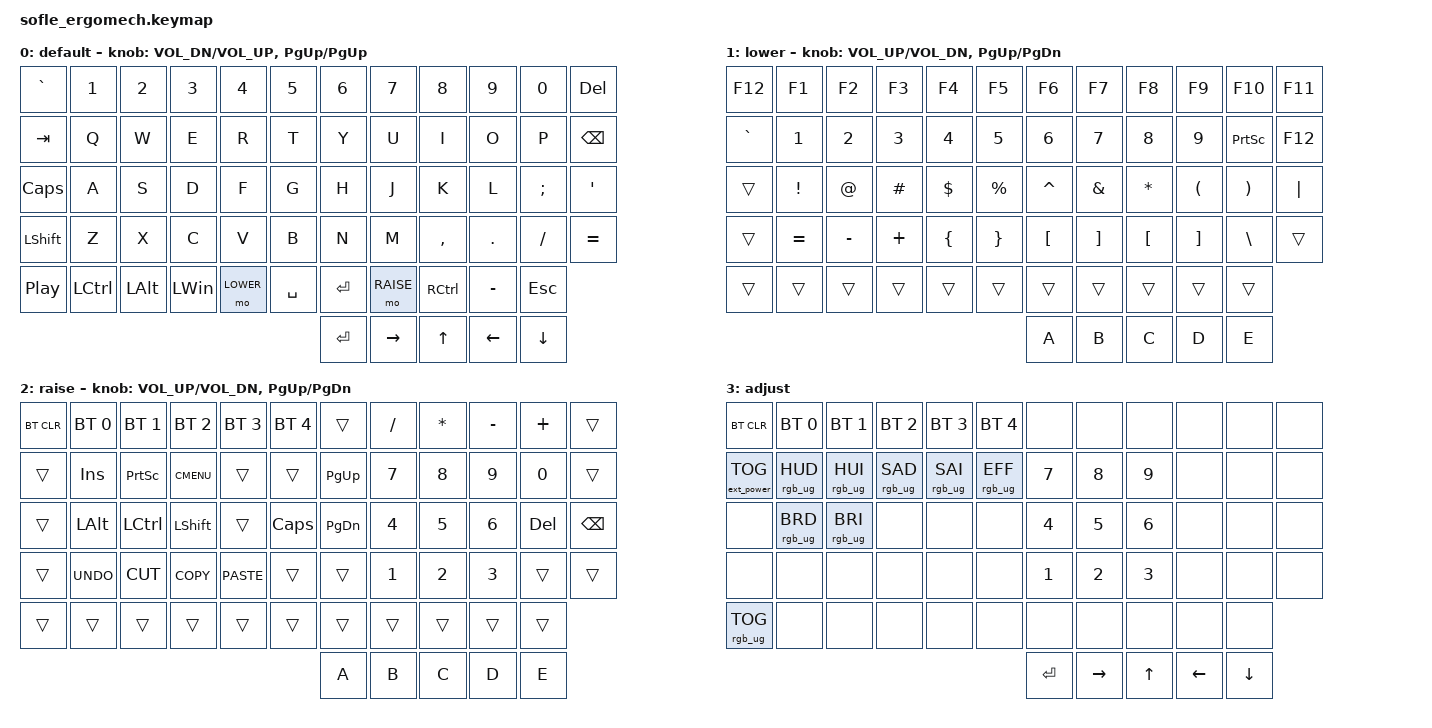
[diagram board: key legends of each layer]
/*
 * Copyright (c) 2020 The ZMK Contributors
 *
 * SPDX-License-Identifier: MIT
 */

#include <behaviors.dtsi>
#include <dt-bindings/zmk/bt.h>
#include <dt-bindings/zmk/ext_power.h>
#include <dt-bindings/zmk/keys.h>
#include <dt-bindings/zmk/rgb.h>

#define BASE 0
#define LOWER 1
#define RAISE 2
#define ADJUST 3

/ {
    // Activate ADJUST layer by pressing raise and lower

    conditional_layers {
        compatible = "zmk,conditional-layers";

        adjust_layer {
            if-layers = <LOWER RAISE>;
            then-layer = <ADJUST>;
        };
    };

    keymap {
        compatible = "zmk,keymap";

        default_layer {
            label = "default";

            // ------------------------------------------------------------------------------------------------------------
            // |   `   |  1  |  2  |  3   |  4   |  5   |                   |  6   |  7    |  8    |  9   |   0   |       |
            // |  ESC  |  Q  |  W  |  E   |  R   |  T   |                   |  Y   |  U    |  I    |  O   |   P   | BKSPC |
            // |  TAB  |  A  |  S  |  D   |  F   |  G   |                   |  H   |  J    |  K    |  L   |   ;   |   '   |
            // | SHIFT |  Z  |  X  |  C   |  V   |  B   |  MUTE  |  |       |  N   |  M    |  ,    |  .   |   /   | SHIFT |
            //               | GUI | ALT  | CTRL | LOWER|  ENTER |  | SPACE | RAISE| CTRL  | ALT   | GUI  |

            bindings = <
&kp GRAVE         &kp N1     &kp N2    &kp N3        &kp N4     &kp N5     &kp N6     &kp N7     &kp N8        &kp N9     &kp N0         &kp DELETE
&kp TAB           &kp Q      &kp W     &kp E         &kp R      &kp T      &kp Y      &kp U      &kp I         &kp O      &kp P          &kp BSPC
&kp CAPSLOCK      &kp A      &kp S     &kp D         &kp F      &kp G      &kp H      &kp J      &kp K         &kp L      &kp SEMICOLON  &kp SQT
&kp LSHFT         &kp Z      &kp X     &kp C         &kp V      &kp B      &kp N      &kp M      &kp COMMA     &kp DOT    &kp FSLH       &kp EQUAL
&kp C_PLAY_PAUSE  &kp LCTRL  &kp LALT  &kp LEFT_WIN  &mo LOWER  &kp SPACE  &kp ENTER  &mo RAISE  &kp RCTRL     &kp MINUS  &kp ESC
                                                                           &kp ENTER  &kp RIGHT  &kp UP_ARROW  &kp LEFT   &kp DOWN
            >;

            sensor-bindings =
                <&inc_dec_kp C_VOL_DN C_VOL_UP>,
                <&inc_dec_kp PG_UP PG_UP>;
        };

        lower_layer {
            label = "lower";

            // TODO: Some binds are waiting for shifted keycode support.
            // ------------------------------------------------------------------------------------------------------------
            // |       |  F1 |  F2 |  F3  |  F4  |  F5  |                   |  F6  |  F7   |  F8   |  F9  |  F10  |  F11  |
            // |   `   |  1  |  2  |  3   |  4   |  5   |                   |  6   |  7    |  8    |  9   |   0   |  F12  |
            // |       |  !  |  @  |  #   |  $   |  %   |                   |  ^   |  &    |  *    |  (   |   )   |   |   |
            // |       |  =  |  -  |  +   |  {   |  }   |        |  |       |  [   |  ]    |  ;    |  :   |   \   |       |
            //               |     |      |      |      |        |  |       |      |       |       |      |

            bindings = <
&kp F12    &kp F1     &kp F2     &kp F3    &kp F4    &kp F5     &kp F6     &kp F7    &kp F8            &kp F9             &kp F10          &kp F11
&kp GRAVE  &kp N1     &kp N2     &kp N3    &kp N4    &kp N5     &kp N6     &kp N7    &kp N8            &kp N9             &kp PRINTSCREEN  &kp F12
&trans     &kp EXCL   &kp AT     &kp HASH  &kp DLLR  &kp PRCNT  &kp CARET  &kp AMPS  &kp ASTRK         &kp LPAR           &kp RPAR         &kp PIPE
&trans     &kp EQUAL  &kp MINUS  &kp PLUS  &kp LBRC  &kp RBRC   &kp LBKT   &kp RBKT  &kp LEFT_BRACKET  &kp RIGHT_BRACKET  &kp BSLH         &trans
&trans     &trans     &trans     &trans    &trans    &trans     &trans     &trans    &trans            &trans             &trans
                                                                &kp A      &kp B     &kp C             &kp D              &kp E
            >;

            sensor-bindings = <&inc_dec_kp C_VOL_UP C_VOL_DN &inc_dec_kp PG_UP PG_DN>;
        };

        raise_layer {
            label = "raise";

            // ------------------------------------------------------------------------------------------------------------
            // | BTCLR | BT1  | BT2  |  BT3  |  BT4  |  BT5 |                |      |      |       |      |       |       |
            // |       | INS  | PSCR | GUI   |       |      |                | PGUP |      |   ^   |      |       |       |
            // |       | ALT  | CTRL | SHIFT |       | CAPS |                | PGDN |   <- |   v   |  ->  |  DEL  | BKSPC |
            // |       | UNDO | CUT  | COPY  | PASTE |      |      |  |      |      |      |       |      |       |       |
            //                |      |       |       |      |      |  |      |      |      |       |      |

            bindings = <
&bt BT_CLR  &bt BT_SEL 0  &bt BT_SEL 1  &bt BT_SEL 2  &bt BT_SEL 3  &bt BT_SEL 4  &trans     &kp SLASH     &kp ASTERISK  &kp MINUS     &kp PLUS  &trans
&trans      &kp INS       &kp PSCRN     &kp K_CMENU   &trans        &trans        &kp PG_UP  &kp NUMBER_7  &kp N8        &kp NUMBER_9  &kp N0    &trans
&trans      &kp LALT      &kp LCTRL     &kp LSHFT     &trans        &kp CLCK      &kp PG_DN  &kp NUMBER_4  &kp NUMBER_5  &kp NUMBER_6  &kp DEL   &kp BSPC
&trans      &kp K_UNDO    &kp K_CUT     &kp K_COPY    &kp K_PASTE   &trans        &trans     &kp NUMBER_1  &kp NUMBER_2  &kp NUMBER_3  &trans    &trans
&trans      &trans        &trans        &trans        &trans        &trans        &trans     &trans        &trans        &trans        &trans
                                                                                  &kp A      &kp B         &kp C         &kp D         &kp E
            >;

            sensor-bindings = <&inc_dec_kp C_VOL_UP C_VOL_DN &inc_dec_kp PG_UP PG_DN>;
        };

        adjust_layer {
            // ----------------------------------------------------------------------------------------------------------------------------
            // | BTCLR  |  BT1    |  BT2    |   BT3   |   BT4   |   BT5   |                  |      |      |       |      |       |       |
            // | EXTPWR | RGB_HUD | RGB_HUI | RGB_SAD | RGB_SAI | RGB_EFF |                  |      |      |       |      |       |       |
            // |        | RGB_BRD | RGB_BRI |         |         |         |                  |      |      |       |      |       |       |
            // |        |         |         |         |         |         | RGB_TOG | |      |      |      |       |      |       |       |
            //                    |         |         |         |         |         | |      |      |      |       |      |

            label = "adjust";
            bindings = <
&bt BT_CLR         &bt BT_SEL 0     &bt BT_SEL 1     &bt BT_SEL 2     &bt BT_SEL 3     &bt BT_SEL 4     &none         &none         &none         &none     &none     &none
&ext_power EP_TOG  &rgb_ug RGB_HUD  &rgb_ug RGB_HUI  &rgb_ug RGB_SAD  &rgb_ug RGB_SAI  &rgb_ug RGB_EFF  &kp NUMBER_7  &kp N8        &kp NUMBER_9  &none     &none     &none
&none              &rgb_ug RGB_BRD  &rgb_ug RGB_BRI  &none            &none            &none            &kp NUMBER_4  &kp NUMBER_5  &kp NUMBER_6  &none     &none     &none
&none              &none            &none            &none            &none            &none            &kp NUMBER_1  &kp NUMBER_2  &kp NUMBER_3  &none     &none     &none
&rgb_ug RGB_TOG    &none            &none            &none            &none            &none            &none         &none         &none         &none     &none
                                                                                                        &kp ENTER     &kp RIGHT     &kp UP_ARROW  &kp LEFT  &kp DOWN
            >;
        };
    };
};
